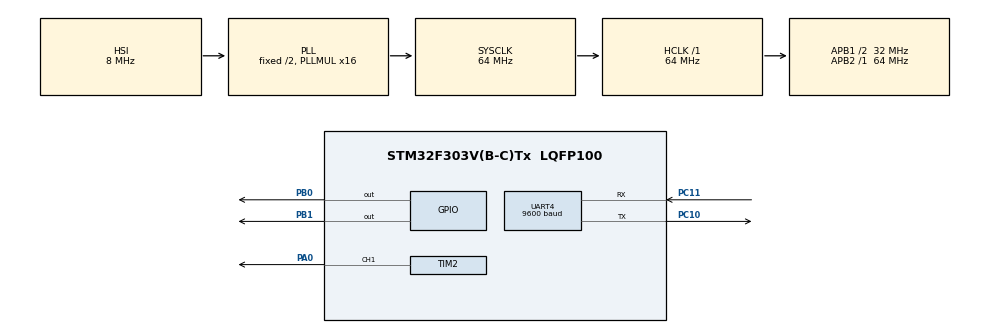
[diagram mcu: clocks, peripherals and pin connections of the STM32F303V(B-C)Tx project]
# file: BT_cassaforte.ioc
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Mcu.Family=STM32F3
Mcu.Name=STM32F303V(B-C)Tx
Mcu.Package=LQFP100
NVIC.PriorityGroup=NVIC_PRIORITYGROUP_4
NVIC.UART4_IRQn=true\:0\:0\:false\:false\:true\:true\:true\:true
PA0.Signal=S_TIM2_CH1_ETR
PB0.Signal=GPIO_Output
PB1.Signal=GPIO_Output
PC10.Mode=Asynchronous
PC10.Signal=UART4_TX
PC11.Mode=Asynchronous
PC11.Signal=UART4_RX
ProjectManager.HeapSize=0x200
ProjectManager.StackSize=0x400
ProjectManager.TargetToolchain=STM32CubeIDE
RCC.AHBFreq_Value=64000000
RCC.APB1CLKDivider=RCC_HCLK_DIV2
RCC.APB1Freq_Value=32000000
RCC.APB1TimFreq_Value=64000000
RCC.APB2Freq_Value=64000000
RCC.APB2TimFreq_Value=64000000
RCC.CortexFreq_Value=64000000
RCC.HCLKFreq_Value=64000000
RCC.HSE_VALUE=8000000
RCC.HSI_VALUE=8000000
RCC.LSE_VALUE=32768
RCC.PLLMUL=RCC_PLL_MUL16
RCC.SYSCLKFreq_VALUE=64000000
RCC.SYSCLKSourceVirtual=RCC_SYSCLKSOURCE_PLLCLK
RCC.USBFreq_Value=64000000
SH.S_TIM2_CH1_ETR.0=TIM2_CH1,PWM Generation1 CH1
TIM2.Channel-PWM\ Generation1\ CH1=TIM_CHANNEL_1
TIM2.Period=20000-1
TIM2.Prescaler=72-1
UART4.BaudRate=9600
board=custom

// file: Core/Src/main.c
/* USER CODE BEGIN Header */
/* USER CODE END Header */
#include "main.h"

/* USER CODE BEGIN Includes */
#include <stdio.h>
#include <string.h>
/* USER CODE END Includes */

/* USER CODE BEGIN PD */
#define BUFFER_SIZE 10
/* USER CODE END PD */

TIM_HandleTypeDef htim2;
UART_HandleTypeDef huart4;

/* USER CODE BEGIN PV */
uint8_t rx_char;
uint8_t rx_buffer[BUFFER_SIZE];
uint8_t rx_index = 0;
uint8_t rx_complete = 0;
/* USER CODE END PV */

void SystemClock_Config(void);
static void MX_GPIO_Init(void);
static void MX_TIM2_Init(void);
static void MX_UART4_Init(void);

/* USER CODE BEGIN 0 */
// Callback per la ricezione UART completata
void HAL_UART_RxCpltCallback(UART_HandleTypeDef *huart)
{

	if(rx_char != '\r' && rx_char != '\n')
	{
		if(rx_index < BUFFER_SIZE - 1)
		{
			rx_buffer[rx_index++] = rx_char;

			if(rx_index >= 4)
			{
				rx_buffer[rx_index] = '\0';
				rx_complete = 1;
				rx_index = 0;
			}
		}
		else
		{
			rx_index = 0;
		}
	}

	HAL_UART_Receive_IT(&huart4, &rx_char, 1);

}

int _write(int file, char *ptr, int len)
{
    HAL_UART_Transmit(&huart4, (uint8_t*)ptr, len, HAL_MAX_DELAY);
    return len;
}
/* USER CODE END 0 */

int main(void)
{

  HAL_Init();

  SystemClock_Config();

  MX_GPIO_Init();
  MX_TIM2_Init();
  MX_UART4_Init();

  /* USER CODE BEGIN 2 */
  printf("Connessione alla cassaforte effettuata \r\n");
  printf("Inserire combinazione (max 4 caratteri)\r\n");

  memset(rx_buffer, 0, BUFFER_SIZE);
  rx_index = 0;
  rx_complete = 0;

  HAL_UART_Receive_IT(&huart4, &rx_char, 1);
  HAL_TIM_PWM_Start(&htim2, TIM_CHANNEL_1);

  uint8_t servo_angle_90 = 0;
  /* USER CODE END 2 */

  /* Infinite loop */
  /* USER CODE BEGIN WHILE */
  while (1)
  {
    if(rx_complete)
    {
        rx_complete = 0;

        if(strcmp((char*)rx_buffer, "1234") == 0)
        {
            for(int i = 0; i < 2; i++)
            {
                HAL_GPIO_WritePin(GPIOB, GPIO_PIN_1, GPIO_PIN_SET);
                HAL_Delay(200);
                HAL_GPIO_WritePin(GPIOB, GPIO_PIN_1, GPIO_PIN_RESET);
                HAL_Delay(200);
            }

            if(servo_angle_90 == 0)
            {
                __HAL_TIM_SET_COMPARE(&htim2, TIM_CHANNEL_1, 2000);
                servo_angle_90 = 1;
            }
            else
            {
                __HAL_TIM_SET_COMPARE(&htim2, TIM_CHANNEL_1, 1000);
                servo_angle_90 = 0;
            }
        }
        else
        {
            for(int i = 0; i < 2; i++)
            {
                HAL_GPIO_WritePin(GPIOB, GPIO_PIN_0, GPIO_PIN_SET);
                HAL_Delay(200);
                HAL_GPIO_WritePin(GPIOB, GPIO_PIN_0, GPIO_PIN_RESET);
                HAL_Delay(200);
            }
        }

        memset(rx_buffer, 0, BUFFER_SIZE);
    }

    HAL_Delay(10);

  }
  /* USER CODE END WHILE */

}

void SystemClock_Config(void)
{
  RCC_OscInitTypeDef RCC_OscInitStruct = {0};
  RCC_ClkInitTypeDef RCC_ClkInitStruct = {0};
  RCC_PeriphCLKInitTypeDef PeriphClkInit = {0};

  RCC_OscInitStruct.OscillatorType = RCC_OSCILLATORTYPE_HSI;
  RCC_OscInitStruct.HSIState = RCC_HSI_ON;
  RCC_OscInitStruct.HSICalibrationValue = RCC_HSICALIBRATION_DEFAULT;
  RCC_OscInitStruct.PLL.PLLState = RCC_PLL_ON;
  RCC_OscInitStruct.PLL.PLLSource = RCC_PLLSOURCE_HSI;
  RCC_OscInitStruct.PLL.PLLMUL = RCC_PLL_MUL16;
  if (HAL_RCC_OscConfig(&RCC_OscInitStruct) != HAL_OK) { Error_Handler(); }

  RCC_ClkInitStruct.ClockType = RCC_CLOCKTYPE_HCLK|RCC_CLOCKTYPE_SYSCLK
                              |RCC_CLOCKTYPE_PCLK1|RCC_CLOCKTYPE_PCLK2;
  RCC_ClkInitStruct.SYSCLKSource = RCC_SYSCLKSOURCE_PLLCLK;
  RCC_ClkInitStruct.AHBCLKDivider = RCC_SYSCLK_DIV1;
  RCC_ClkInitStruct.APB1CLKDivider = RCC_HCLK_DIV2;
  RCC_ClkInitStruct.APB2CLKDivider = RCC_HCLK_DIV1;

  if (HAL_RCC_ClockConfig(&RCC_ClkInitStruct, FLASH_LATENCY_2) != HAL_OK) { Error_Handler(); }

  PeriphClkInit.PeriphClockSelection = RCC_PERIPHCLK_UART4;
  PeriphClkInit.Uart4ClockSelection = RCC_UART4CLKSOURCE_PCLK1;
  if (HAL_RCCEx_PeriphCLKConfig(&PeriphClkInit) != HAL_OK) { Error_Handler(); }
}

static void MX_TIM2_Init(void)
{
  TIM_OC_InitTypeDef sConfigOC = {0};

  htim2.Instance = TIM2;
  htim2.Init.Prescaler = 72-1;
  htim2.Init.CounterMode = TIM_COUNTERMODE_UP;
  htim2.Init.Period = 20000-1;
  htim2.Init.ClockDivision = TIM_CLOCKDIVISION_DIV1;
  htim2.Init.AutoReloadPreload = TIM_AUTORELOAD_PRELOAD_DISABLE;
  if (HAL_TIM_PWM_Init(&htim2) != HAL_OK) { Error_Handler(); }

  sConfigOC.OCMode = TIM_OCMODE_PWM1;
  sConfigOC.Pulse = 0;
  sConfigOC.OCPolarity = TIM_OCPOLARITY_HIGH;
  sConfigOC.OCFastMode = TIM_OCFAST_DISABLE;
  if (HAL_TIM_PWM_ConfigChannel(&htim2, &sConfigOC, TIM_CHANNEL_1) != HAL_OK) { Error_Handler(); }

  HAL_TIM_MspPostInit(&htim2);
}

static void MX_UART4_Init(void)
{
  huart4.Instance = UART4;
  huart4.Init.BaudRate = 9600;
  huart4.Init.WordLength = UART_WORDLENGTH_8B;
  huart4.Init.StopBits = UART_STOPBITS_1;
  huart4.Init.Parity = UART_PARITY_NONE;
  huart4.Init.Mode = UART_MODE_TX_RX;
  huart4.Init.HwFlowCtl = UART_HWCONTROL_NONE;
  huart4.Init.OverSampling = UART_OVERSAMPLING_16;
  huart4.Init.OneBitSampling = UART_ONE_BIT_SAMPLE_DISABLE;
  huart4.AdvancedInit.AdvFeatureInit = UART_ADVFEATURE_NO_INIT;
  if (HAL_UART_Init(&huart4) != HAL_OK) { Error_Handler(); }
}

static void MX_GPIO_Init(void)
{
  GPIO_InitTypeDef GPIO_InitStruct = {0};

  __HAL_RCC_GPIOA_CLK_ENABLE();
  __HAL_RCC_GPIOB_CLK_ENABLE();
  __HAL_RCC_GPIOC_CLK_ENABLE();

  HAL_GPIO_WritePin(GPIOB, GPIO_PIN_0|GPIO_PIN_1, GPIO_PIN_RESET);

  GPIO_InitStruct.Pin = GPIO_PIN_0|GPIO_PIN_1;
  GPIO_InitStruct.Mode = GPIO_MODE_OUTPUT_PP;
  GPIO_InitStruct.Pull = GPIO_NOPULL;
  GPIO_InitStruct.Speed = GPIO_SPEED_FREQ_LOW;
  HAL_GPIO_Init(GPIOB, &GPIO_InitStruct);
}

void Error_Handler(void)
{
  __disable_irq();
  while (1) { }
}
